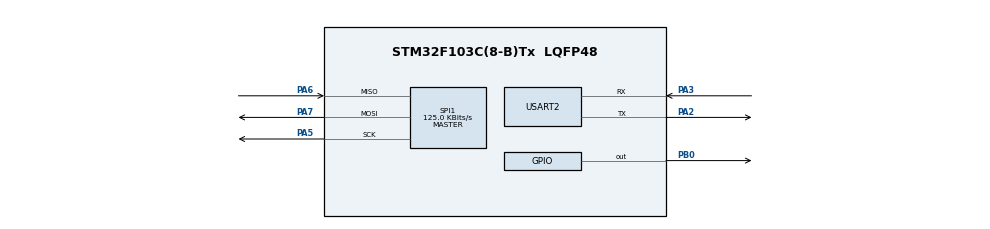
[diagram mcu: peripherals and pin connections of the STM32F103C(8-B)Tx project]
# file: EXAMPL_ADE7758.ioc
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IWDG.Prescaler=IWDG_PRESCALER_4
Mcu.Family=STM32F1
Mcu.Name=STM32F103C(8-B)Tx
Mcu.Package=LQFP48
NVIC.PriorityGroup=NVIC_PRIORITYGROUP_4
NVIC.USART2_IRQn=true\:0\:0\:false\:false\:true\:true\:true\:true
PA13.Mode=Serial_Wire
PA13.Signal=SYS_JTMS-SWDIO
PA14.Mode=Serial_Wire
PA14.Signal=SYS_JTCK-SWCLK
PA2.Mode=Asynchronous
PA2.Signal=USART2_TX
PA3.Mode=Asynchronous
PA3.Signal=USART2_RX
PA5.Mode=Full_Duplex_Master
PA5.Signal=SPI1_SCK
PA6.Mode=Full_Duplex_Master
PA6.Signal=SPI1_MISO
PA7.Mode=Full_Duplex_Master
PA7.Signal=SPI1_MOSI
PB0.GPIO_ModeDefaultOutputPP=GPIO_MODE_OUTPUT_OD
PB0.GPIO_PuPd=GPIO_NOPULL
PB0.Signal=GPIO_Output
ProjectManager.HeapSize=0x200
ProjectManager.StackSize=0x400
ProjectManager.TargetToolchain=STM32CubeIDE
RCC.APB1Freq_Value=8000000
RCC.APB2Freq_Value=8000000
SPI1.BaudRatePrescaler=SPI_BAUDRATEPRESCALER_64
SPI1.CLKPhase=SPI_PHASE_2EDGE
SPI1.CLKPolarity=SPI_POLARITY_LOW
SPI1.CalculateBaudRate=125.0 KBits/s
SPI1.Direction=SPI_DIRECTION_2LINES
SPI1.Mode=SPI_MODE_MASTER
SPI1.VirtualType=VM_MASTER
USART2.VirtualMode=VM_ASYNC
VP_IWDG_VS_IWDG.Mode=IWDG_Activate
board=custom

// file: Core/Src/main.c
/* USER CODE BEGIN Header */
/**
 ******************************************************************************
 * @file           : main.c
 * @brief          : Main program body
 ******************************************************************************
 * @attention
 *
 * Copyright (c) 2024 STMicroelectronics.
 * All rights reserved.
 *
 * This software is licensed under terms that can be found in the LICENSE file
 * in the root directory of this software component.
 * If no LICENSE file comes with this software, it is provided AS-IS.
 *
 ******************************************************************************
 */
/* USER CODE END Header */
#include "main.h"

/* USER CODE BEGIN Includes */

#define MAX_BUFFER 20

uint8_t Next_page, Select;

bool Flag_Rx;
bool Flag_display;
char Line1[70];

uint8_t rx_data[MAX_BUFFER], cop_rx_data[MAX_BUFFER];
uint8_t length, count;
int32_t ADC_Current, ADC_Voltage, ADC_Power, ADC_Reactive, ADC_Apparent;
int32_t VALUE_Current, VALUE_Voltage, VALUE_Power, VALUE_Reactive, VALUE_Apparent;

/* USER CODE END Includes */

IWDG_HandleTypeDef hiwdg;

SPI_HandleTypeDef hspi1;

UART_HandleTypeDef huart2;

void SystemClock_Config(void);
static void MX_GPIO_Init(void);
static void MX_SPI1_Init(void);
static void MX_USART2_UART_Init(void);
static void MX_IWDG_Init(void);

/* USER CODE BEGIN 0 */

/*----- DEFINE USE FUNTION PRINT -----*/
#ifdef __GNUC__
/* With GCC/RAISONANCE, small printf (option LD Linker->Libraries->Small printf
set to 'Yes') calls __io_putchar() */
#define PUTCHAR_PROTOTYPE int __io_putchar(int ch)
#else
#define PUTCHAR_PROTOTYPE int fputc(int ch, FILE *f)
#endif /* __GNUC__ */

/* ----END-------- */

ADE7758_SPI ade7758_1;

void HAL_UARTEx_RxEventCallback(UART_HandleTypeDef *huart, uint16_t Size)
{
  if (huart->Instance == USART2)
  {
    Flag_Rx = true;
    memcpy(cop_rx_data, rx_data, MAX_BUFFER);
    HAL_UARTEx_ReceiveToIdle_IT(&huart2, rx_data, MAX_BUFFER);
  }
}

int stringToNumber(const char *str)
{
  return atoi(str); // Hàm atoi có sẵn trong thư viện stdlib.h
}

void numberToString(int num, char *str)
{
  sprintf(str, "%d", num); // Hàm sprintf để chuyển số thành chuỗi
}

/* USER CODE END 0 */

int main(void)
{

  /* MCU Configuration--------------------------------------------------------*/

  /* Reset of all peripherals, Initializes the Flash interface and the Systick. */
  HAL_Init();

  /* Configure the system clock */
  SystemClock_Config();

  /* Initialize all configured peripherals */
  MX_GPIO_Init();
  MX_SPI1_Init();
  MX_USART2_UART_Init();
  MX_IWDG_Init();
  /* USER CODE BEGIN 2 */
  HAL_UARTEx_ReceiveToIdle_IT(&huart2, rx_data, MAX_BUFFER);
  ADE7758_Init(&ade7758_1, &hspi1, GPIOB, GPIO_PIN_0);

  // ADE7758_Write(&ade7758_1, 0x05, SAGCYC, 1);
  // ADE7758_Write(&ade7758_1, 0x30, SAGLVL, 1);
  // ADE7758_Write(&ade7758_1, 0x1C0, MASK, 3);
  // ADE7758_Write(&ade7758_1, 0x40, LCYCMODE, 1);
  // ADE7758_Write(&ade7758_1, 0x9C, COMPMODE, 1);

  ADE7758_Write(&ade7758_1, 0xF8, AVRMSOS, 2);
  ADE7758_Write(&ade7758_1, 0x19, AIRMSOS, 2);
  ADE7758_Write(&ade7758_1, 0x04, AWG, 2);
  ADE7758_Write(&ade7758_1, 0x04, AVAG, 2);
  ADE7758_Write(&ade7758_1, 0xF6, APHCAL, 2);
  ADE7758_Write(&ade7758_1, 0xF8, AWAITOS, 2);
  ADE7758_Write(&ade7758_1, 0xF8, AVAROS, 2);

  Next_page = CASE1;
  Select = CASE1;
  Flag_Rx = false;
  Flag_display = false;
  count = 0;

  /* USER CODE END 2 */

  /* Infinite loop */
  while (1)
  {

    /* USER CODE BEGIN 3 */
    switch (Next_page)
    {
    case CASE1:
      /* code */
      if (Flag_display == false)
      {
        /* code */
        Flag_display = true;
        strcpy(Line1, "\n\r| 1. Setting moc chuan de do luong (Press \"1\" de chon): \n\r");
        HAL_UART_Transmit(&huart2, (uint8_t *)Line1, strlen(Line1), Max_Timeout);
        strcpy(Line1, "| --------------------------------------------------------\n\r");
        HAL_UART_Transmit(&huart2, (uint8_t *)Line1, strlen(Line1), Max_Timeout);
        strcpy(Line1, "| 2. Do luong gia tri thuc te (Press \"2\" de chon): \n\r");
        HAL_UART_Transmit(&huart2, (uint8_t *)Line1, strlen(Line1), Max_Timeout);
        strcpy(Line1, "| --------------------------------------------------------\n\r");
        HAL_UART_Transmit(&huart2, (uint8_t *)Line1, strlen(Line1), Max_Timeout);
        strcpy(Line1, "| 3. Hien thi gia tri moc da set (Press \"3\" de chon): \n\r");
        HAL_UART_Transmit(&huart2, (uint8_t *)Line1, strlen(Line1), Max_Timeout);
        strcpy(Line1, "| --------------------------------------------------------\n\r");
        HAL_UART_Transmit(&huart2, (uint8_t *)Line1, strlen(Line1), Max_Timeout);
      }
      if (Flag_Rx == true)
      {
        /* code */
        if (cop_rx_data[0] == '1')
        {
          /* code */
          Flag_Rx = false;
          memset(rx_data, 0, MAX_BUFFER);
          Next_page = CASE2;
          Flag_display = false;
        }
        if (cop_rx_data[0] == '2')
        {
          /* code */
          Flag_Rx = false;
          memset(rx_data, 0, MAX_BUFFER);
          Next_page = CASE3;
          Flag_display = false;
        }
        if (cop_rx_data[0] == '3')
        {
          /* code */
          Flag_Rx = false;
          memset(rx_data, 0, MAX_BUFFER);
          memset(cop_rx_data, 0, MAX_BUFFER);
          Next_page = CASE4;
          Flag_display = false;
        }
      }

      break;

    case CASE2:
      switch (Select)
      {
      case /* constant-expression */ CASE1:
        /* code */
        if (Flag_display == false)
        {
          /* code */
          Flag_display = true;
          strcpy(Line1, "Nhap gia tri DIEN AP (ADC): \n\r");

          HAL_UART_Transmit(&huart2, (uint8_t *)Line1, strlen(Line1), Max_Timeout);
        }
        if (Flag_Rx == true)
        {
          /* code */
          Flag_Rx = false;
          length = strlen((char *)cop_rx_data);
          ADC_Voltage = stringToNumber((char *)cop_rx_data);
          memset(rx_data, 0, MAX_BUFFER);
          // ADC_Voltage = ADC_Voltage - 100;

          Select = CASE2;
          Flag_display = false;
        }
        break;

      case CASE2:
        if (Flag_display == false)
        {
          /* code */
          Flag_display = true;
          strcpy(Line1, "Nhap gia tri DONG DIEN (ADC): \n\r");

          HAL_UART_Transmit(&huart2, (uint8_t *)Line1, strlen(Line1), Max_Timeout);
        }
        if (Flag_Rx == true)
        {
          /* code */
          Flag_Rx = false;
          length = strlen((char *)cop_rx_data);
          ADC_Current = stringToNumber((char *)cop_rx_data);
          memset(rx_data, 0, MAX_BUFFER);

          Select = CASE3;
          Flag_display = false;
        }
        break;

      case CASE3:
        if (Flag_display == false)
        {
          /* code */
          Flag_display = true;
          strcpy(Line1, "Nhap gia tri CONG SUAT (ADC): \n\r");

          HAL_UART_Transmit(&huart2, (uint8_t *)Line1, strlen(Line1), Max_Timeout);
        }
        if (Flag_Rx == true)
        {
          /* code */
          Flag_Rx = false;
          length = strlen((char *)cop_rx_data);
          ADC_Power = stringToNumber((char *)cop_rx_data);
          memset(rx_data, 0, MAX_BUFFER);

          Select = CASE4;
          Flag_display = false;
        }
        break;

      case CASE4:
        if (Flag_display == false)
        {
          /* code */
          Flag_display = true;
          strcpy(Line1, "Nhap gia tri CONG SUAT PK (ADC): \n\r");

          HAL_UART_Transmit(&huart2, (uint8_t *)Line1, strlen(Line1), Max_Timeout);
        }
        if (Flag_Rx == true)
        {
          /* code */
          Flag_Rx = false;
          length = strlen((char *)cop_rx_data);
          ADC_Reactive = stringToNumber((char *)cop_rx_data);
          memset(rx_data, 0, MAX_BUFFER);

          Select = CASE5;
          Flag_display = false;
        }
        break;

      case CASE5:
        if (Flag_display == false)
        {
          /* code */
          Flag_display = true;
          strcpy(Line1, "Nhap gia tri CONG SUAT TP (ADC): \n\r");

          HAL_UART_Transmit(&huart2, (uint8_t *)Line1, strlen(Line1), Max_Timeout);
        }
        if (Flag_Rx == true)
        {
          /* code */
          Flag_Rx = false;
          length = strlen((char *)cop_rx_data);
          ADC_Apparent = stringToNumber((char *)cop_rx_data);
          memset(rx_data, 0, MAX_BUFFER);

          Select = CASE6;
          Flag_display = false;
        }
        break;

      case CASE6:
        if (Flag_display == false)
        {
          /* code */
          Flag_display = true;
          strcpy(Line1, "Nhap gia tri DIEN AP (VOLT): \n\r");

          HAL_UART_Transmit(&huart2, (uint8_t *)Line1, strlen(Line1), Max_Timeout);
        }
        if (Flag_Rx == true)
        {
          /* code */
          Flag_Rx = false;
          length = strlen((char *)cop_rx_data);
          VALUE_Voltage = stringToNumber((char *)cop_rx_data);
          memset(rx_data, 0, MAX_BUFFER);

          Select = CASE7;
          Flag_display = false;
        }
        break;

      case CASE7:
        if (Flag_display == false)
        {
          /* code */
          Flag_display = true;
          strcpy(Line1, "Nhap gia tri DONG DIEN (AMPE): \n\r");

          HAL_UART_Transmit(&huart2, (uint8_t *)Line1, strlen(Line1), Max_Timeout);
        }
        if (Flag_Rx == true)
        {
          /* code */
          Flag_Rx = false;
          length = strlen((char *)cop_rx_data);
          VALUE_Current = stringToNumber((char *)cop_rx_data);
          memset(rx_data, 0, MAX_BUFFER);

          Select = CASE8;
          Flag_display = false;
        }
        break;

      case CASE8:
        if (Flag_display == false)
        {
          /* code */
          Flag_display = true;
          strcpy(Line1, "Nhap gia tri CONG SUAT (WAT): \n\r");

          HAL_UART_Transmit(&huart2, (uint8_t *)Line1, strlen(Line1), Max_Timeout);
        }
        if (Flag_Rx == true)
        {
          /* code */
          Flag_Rx = false;
          length = strlen((char *)cop_rx_data);
          VALUE_Power = stringToNumber((char *)cop_rx_data);
          memset(rx_data, 0, MAX_BUFFER);

          Select = CASE9;
          Flag_display = false;
        }
        break;

      case CASE9:
        if (Flag_display == false)
        {
          /* code */
          Flag_display = true;
          strcpy(Line1, "Nhap gia tri CONG SUAT PK (VAR): \n\r");

          HAL_UART_Transmit(&huart2, (uint8_t *)Line1, strlen(Line1), Max_Timeout);
        }
        if (Flag_Rx == true)
        {
          /* code */
          Flag_Rx = false;
          length = strlen((char *)cop_rx_data);
          VALUE_Reactive = stringToNumber((char *)cop_rx_data);
          memset(rx_data, 0, MAX_BUFFER);

          Select = CASE10;
          Flag_display = false;
        }
        break;

      case CASE10:
        if (Flag_display == false)
        {
          /* code */
          Flag_display = true;
          strcpy(Line1, "Nhap gia tri CONG SUAT TP (VA): \n\r");

          HAL_UART_Transmit(&huart2, (uint8_t *)Line1, strlen(Line1), Max_Timeout);
        }
        if (Flag_Rx == true)
        {
          /* code */
          Flag_Rx = false;
          length = strlen((char *)cop_rx_data);
          VALUE_Apparent = stringToNumber((char *)cop_rx_data);
          memset(rx_data, 0, MAX_BUFFER);

          Select = CASE11;
          Flag_display = false;
        }
        break;

      case CASE11:
        if (Flag_display == false)
        {
          /* code */
          printf("\n\rDa nhap DIEN AP (ADC-VALUE)      : %ld - %ld", ADC_Voltage, VALUE_Voltage);

          printf("\n\rDa nhap DONG DIEN (ADC-VALUE)    : %ld - %ld", ADC_Current, VALUE_Current);

          printf("\n\rDa nhap CONG SUAT (ADC-VALUE)    : %ld - %ld", ADC_Power, VALUE_Power);

          printf("\n\rDa nhap CONG SUAT PK (ADC-VALUE) : %ld - %ld", ADC_Reactive, VALUE_Reactive);

          printf("\n\rDa nhap CONG SUAT TP (ADC-VALUE) : %ld - %ld", ADC_Apparent, VALUE_Apparent);

          Select = CASE1;
          Next_page = CASE1;
        }

        break;

      default:
        break;
      }

      break;

    case CASE3:
      printf("\n\r");
      printf("Gia Tri DONG DIEN Phase A  : %ld \n\r", (((int32_t)ADE7758_Read(&ade7758_1, AIRMS, 3) * 100) / ADC_Current) * (uint16_t)VALUE_Current);
      printf("Gia Tri DIEN AP Phase A    : %ld \n\r", (((int32_t)ADE7758_Read(&ade7758_1, AVRMS, 3) * 100) / ADC_Voltage) * (uint16_t)VALUE_Voltage);
      printf("Gia Tri CONG SUAT Phase A  : %ld \n\r", (((int32_t)ADE7758_Read(&ade7758_1, AWATTHR, 2) * 100) / ADC_Power) * (uint16_t)VALUE_Power);
      printf("Gia Tri CONG SUAT Phan Khang Phase A : %ld \n\r", (((int32_t)ADE7758_Read(&ade7758_1, AVARHR, 2) * 100) / ADC_Reactive) * (uint16_t)VALUE_Reactive);
      printf("Gia Tri CONG SUAT Toan Phan Phase A  : %ld \n\r", (((int32_t)ADE7758_Read(&ade7758_1, AVAHR, 2) * 100) / ADC_Apparent) * (uint16_t)VALUE_Apparent);

      printf("Gia Tri DONG DIEN Phase B  : %ld \n\r", (((int32_t)ADE7758_Read(&ade7758_1, BIRMS, 3) * 100) / ADC_Current) * (uint16_t)VALUE_Current);
      printf("Gia Tri DIEN AP Phase B    : %ld \n\r", (((int32_t)ADE7758_Read(&ade7758_1, BVRMS, 3) * 100) / ADC_Voltage) * (uint16_t)VALUE_Voltage);
      printf("Gia Tri CONG SUAT Phase B  : %ld \n\r", (((int32_t)ADE7758_Read(&ade7758_1, BWATTHR, 2) * 100) / ADC_Power) * (uint16_t)VALUE_Power);
      printf("Gia Tri CONG SUAT Phan Khang Phase B : %ld \n\r", (((int32_t)ADE7758_Read(&ade7758_1, BVARHR, 2) * 100) / ADC_Reactive) * (uint16_t)VALUE_Reactive);
      printf("Gia Tri CONG SUAT Toan Phan Phase B  : %ld \n\r", (((int32_t)ADE7758_Read(&ade7758_1, BVAHR, 2) * 100) / ADC_Apparent) * (uint16_t)VALUE_Apparent);

      printf("Gia Tri DONG DIEN Phase C  : %ld \n\r", (((int32_t)ADE7758_Read(&ade7758_1, CIRMS, 3) * 100) / ADC_Current) * (uint16_t)VALUE_Current);
      printf("Gia Tri DIEN AP Phase C    : %ld \n\r", (((int32_t)ADE7758_Read(&ade7758_1, CVRMS, 3) * 100) / ADC_Voltage) * (uint16_t)VALUE_Voltage);
      printf("Gia Tri CONG SUAT Phase C  : %ld \n\r", (((int32_t)ADE7758_Read(&ade7758_1, CWATTHR, 2) * 100) / ADC_Power) * (uint16_t)VALUE_Power);
      printf("Gia Tri CONG SUAT Phan Khang Phase C : %ld \n\r", (((int32_t)ADE7758_Read(&ade7758_1, CVARHR, 2) * 100) / ADC_Reactive) * (uint16_t)VALUE_Reactive);
      printf("Gia Tri CONG SUAT Toan Phan Phase C  : %ld \n\r", (((int32_t)ADE7758_Read(&ade7758_1, CVAHR, 2) * 100) / ADC_Apparent) * (uint16_t)VALUE_Apparent);

      printf("Gia Tri TAN SO      : %ld \n\r", (int32_t)ADE7758_Read(&ade7758_1, FREQ, 2));
      // printf("Gia Tri thanh ghi STATUS     : %ld \n\r", (int32_t)ADE7758_Read(&ade7758_1, STATUS, 3));
      // printf("Gia Tri thanh ghi RESTATUS   : %ld \n\r", (int32_t)ADE7758_Read(&ade7758_1, RSTATUS, 3));
      Next_page = CASE1;

      break;

    case CASE4:
      if (Flag_display == false)
      {
        /* code */
        printf("\n\rDa nhap DIEN AP (ADC-VALUE)      : %ld - %ld", ADC_Voltage, VALUE_Voltage);

        printf("\n\rDa nhap DONG DIEN (ADC-VALUE)    : %ld - %ld", ADC_Current, VALUE_Current);

        printf("\n\rDa nhap CONG SUAT (ADC-VALUE)    : %ld - %ld", ADC_Power, VALUE_Power);

        printf("\n\rDa nhap CONG SUAT PK (ADC-VALUE) : %ld - %ld", ADC_Reactive, VALUE_Reactive);

        printf("\n\rDa nhap CONG SUAT TP (ADC-VALUE) : %ld - %ld", ADC_Apparent, VALUE_Apparent);

        Next_page = CASE1;
      }
      break;

    default:
      break;
    }
    HAL_IWDG_Refresh(&hiwdg);
  }
  /* USER CODE END 3 */
}

void SystemClock_Config(void)
{
  RCC_OscInitTypeDef RCC_OscInitStruct = {0};
  RCC_ClkInitTypeDef RCC_ClkInitStruct = {0};

  /** Initializes the RCC Oscillators according to the specified parameters
  * in the RCC_OscInitTypeDef structure.
  */
  RCC_OscInitStruct.OscillatorType = RCC_OSCILLATORTYPE_HSI|RCC_OSCILLATORTYPE_LSI;
  RCC_OscInitStruct.HSIState = RCC_HSI_ON;
  RCC_OscInitStruct.HSICalibrationValue = RCC_HSICALIBRATION_DEFAULT;
  RCC_OscInitStruct.LSIState = RCC_LSI_ON;
  RCC_OscInitStruct.PLL.PLLState = RCC_PLL_NONE;
  if (HAL_RCC_OscConfig(&RCC_OscInitStruct) != HAL_OK)
  {
    Error_Handler();
  }

  /** Initializes the CPU, AHB and APB buses clocks
  */
  RCC_ClkInitStruct.ClockType = RCC_CLOCKTYPE_HCLK|RCC_CLOCKTYPE_SYSCLK
                              |RCC_CLOCKTYPE_PCLK1|RCC_CLOCKTYPE_PCLK2;
  RCC_ClkInitStruct.SYSCLKSource = RCC_SYSCLKSOURCE_HSI;
  RCC_ClkInitStruct.AHBCLKDivider = RCC_SYSCLK_DIV1;
  RCC_ClkInitStruct.APB1CLKDivider = RCC_HCLK_DIV1;
  RCC_ClkInitStruct.APB2CLKDivider = RCC_HCLK_DIV1;

  if (HAL_RCC_ClockConfig(&RCC_ClkInitStruct, FLASH_LATENCY_0) != HAL_OK)
  {
    Error_Handler();
  }
}

static void MX_IWDG_Init(void)
{

  hiwdg.Instance = IWDG;
  hiwdg.Init.Prescaler = IWDG_PRESCALER_4;
  hiwdg.Init.Reload = 4095;
  if (HAL_IWDG_Init(&hiwdg) != HAL_OK)
  {
    Error_Handler();
  }

}

static void MX_SPI1_Init(void)
{

  /* SPI1 parameter configuration*/
  hspi1.Instance = SPI1;
  hspi1.Init.Mode = SPI_MODE_MASTER;
  hspi1.Init.Direction = SPI_DIRECTION_2LINES;
  hspi1.Init.DataSize = SPI_DATASIZE_8BIT;
  hspi1.Init.CLKPolarity = SPI_POLARITY_LOW;
  hspi1.Init.CLKPhase = SPI_PHASE_2EDGE;
  hspi1.Init.NSS = SPI_NSS_SOFT;
  hspi1.Init.BaudRatePrescaler = SPI_BAUDRATEPRESCALER_64;
  hspi1.Init.FirstBit = SPI_FIRSTBIT_MSB;
  hspi1.Init.TIMode = SPI_TIMODE_DISABLE;
  hspi1.Init.CRCCalculation = SPI_CRCCALCULATION_DISABLE;
  hspi1.Init.CRCPolynomial = 10;
  if (HAL_SPI_Init(&hspi1) != HAL_OK)
  {
    Error_Handler();
  }

}

static void MX_USART2_UART_Init(void)
{

  huart2.Instance = USART2;
  huart2.Init.BaudRate = 115200;
  huart2.Init.WordLength = UART_WORDLENGTH_8B;
  huart2.Init.StopBits = UART_STOPBITS_1;
  huart2.Init.Parity = UART_PARITY_NONE;
  huart2.Init.Mode = UART_MODE_TX_RX;
  huart2.Init.HwFlowCtl = UART_HWCONTROL_NONE;
  huart2.Init.OverSampling = UART_OVERSAMPLING_16;
  if (HAL_UART_Init(&huart2) != HAL_OK)
  {
    Error_Handler();
  }

}

static void MX_GPIO_Init(void)
{
  GPIO_InitTypeDef GPIO_InitStruct = {0};

  /* GPIO Ports Clock Enable */
  __HAL_RCC_GPIOA_CLK_ENABLE();
  __HAL_RCC_GPIOB_CLK_ENABLE();

  /*Configure GPIO pin Output Level */
  HAL_GPIO_WritePin(GPIOB, GPIO_PIN_0, GPIO_PIN_RESET);

  /*Configure GPIO pin : PB0 */
  GPIO_InitStruct.Pin = GPIO_PIN_0;
  GPIO_InitStruct.Mode = GPIO_MODE_OUTPUT_OD;
  GPIO_InitStruct.Pull = GPIO_NOPULL;
  GPIO_InitStruct.Speed = GPIO_SPEED_FREQ_LOW;
  HAL_GPIO_Init(GPIOB, &GPIO_InitStruct);

}

/* USER CODE BEGIN 4 */

/**
 * @brief Retargets the C library printf function to the USART.
 * @param None
 * @retval None
 */
PUTCHAR_PROTOTYPE
{
  /* Place your implementation of fputc here */
  /* e.g. write a character to the USART */
  HAL_UART_Transmit(&huart2, (uint8_t *)&ch, 1, 100);

  return ch;
}

/* USER CODE END 4 */

void Error_Handler(void)
{
  __disable_irq();
  while (1)
  {
  }
}
